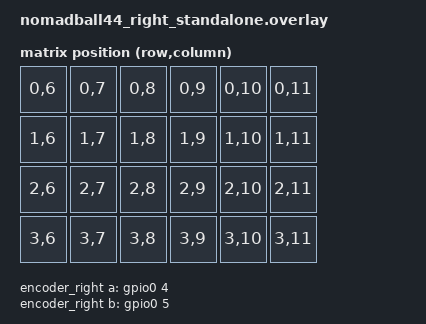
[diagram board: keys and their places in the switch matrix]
#include "nomadball44.dtsi"
#include <zephyr/dt-bindings/input/input-event-codes.h>

/ {
    right_standalone_transform: right_standalone_transform {
        compatible = "zmk,matrix-transform";
        columns = <6>;
        rows = <4>;
        map = <
            RC(0, 6) RC(0, 7) RC(0, 8) RC(0, 9) RC(0, 10) RC(0, 11)
            RC(1, 6) RC(1, 7) RC(1, 8) RC(1, 9) RC(1, 10) RC(1, 11)
            RC(2, 6) RC(2, 7) RC(2, 8) RC(2, 9) RC(2, 10) RC(2, 11)
            RC(3, 6) RC(3, 7) RC(3, 8) RC(3, 9) RC(3, 10) RC(3, 11)
        >;
    };
};

&default_layout {
    transform = <&right_standalone_transform>;
};

&pinctrl {
    spi0_default: spi0_default {
        group1 {
            psels = <NRF_PSEL(SPIM_SCK, 0, 3)>,
                    <NRF_PSEL(SPIM_MOSI, 0, 2)>,
                    <NRF_PSEL(SPIM_MISO, 0, 2)>;
        };
    };
    spi0_sleep: spi0_sleep {
        group1 {
            psels = <NRF_PSEL(SPIM_SCK, 0, 3)>,
                    <NRF_PSEL(SPIM_MOSI, 0, 2)>,
                    <NRF_PSEL(SPIM_MISO, 0, 2)>;
            low-power-enable;
        };
    };
};

&spi0 {
    status = "okay";
    compatible = "nordic,nrf-spim";
    pinctrl-0 = <&spi0_default>;
    pinctrl-1 = <&spi0_sleep>;
    pinctrl-names = "default", "sleep";
    cs-gpios = <&gpio0 28 GPIO_ACTIVE_LOW>;

    trackball: trackball@0 {
        status = "okay";
        compatible = "pixart,pmw3610";
        reg = <0>;
        spi-max-frequency = <2000000>;
        duplex = <2048>;
        irq-gpios = <&gpio0 29 (GPIO_ACTIVE_LOW | GPIO_PULL_UP)>;
        cpi = <600>;
        evt-type = <INPUT_EV_REL>;
        x-input-code = <INPUT_REL_X>;
        y-input-code = <INPUT_REL_Y>;
        force-awake;
    };
};

/ {
    sensors {
        compatible = "zmk,keymap-sensors";
        sensors = <&encoder_right>;
        triggers-per-rotation = <24>;
    };

    encoder_right: encoder_right {
        compatible = "alps,ec11";
        a-gpios = <&gpio0 4 (GPIO_ACTIVE_LOW | GPIO_PULL_UP)>;
        b-gpios = <&gpio0 5 (GPIO_ACTIVE_LOW | GPIO_PULL_UP)>;
        steps = <24>;
        status = "okay";
    };

    trackball_listener {
        compatible = "zmk,input-listener";
        device = <&trackball>;
    };
};
